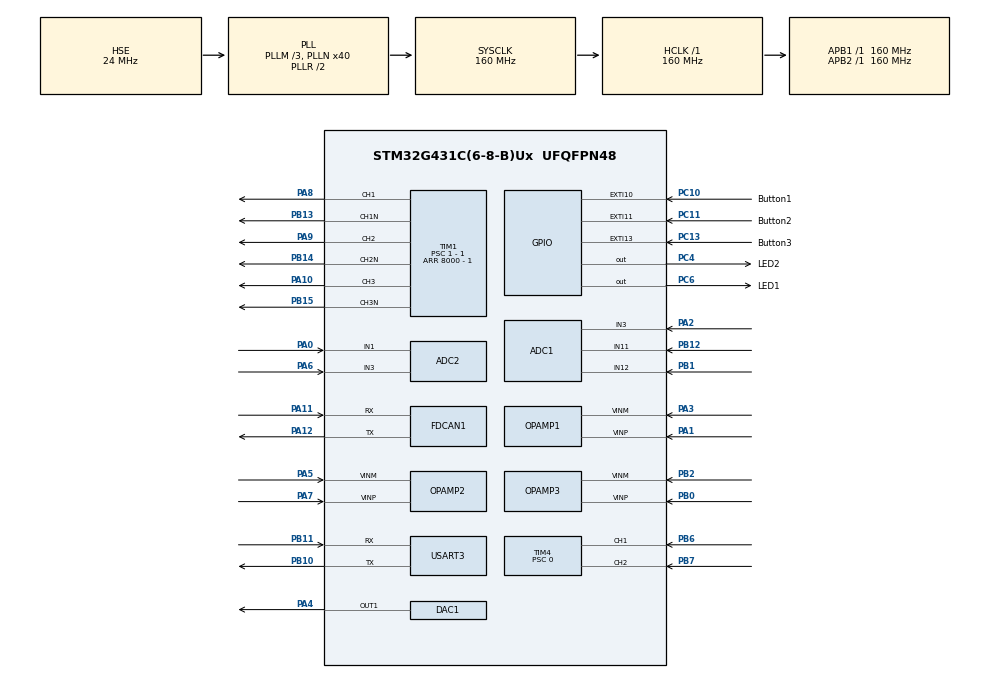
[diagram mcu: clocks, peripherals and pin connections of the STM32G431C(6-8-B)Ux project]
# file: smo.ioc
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ADC1.Channel-0\#ChannelRegularConversion=ADC_CHANNEL_11
ADC1.EnableInjectedConversion=ENABLE
ADC1.ExternalTrigInjecConv=ADC_EXTERNALTRIGINJEC_T1_CC4
ADC1.InjNumberOfConversion=2
ADC1.InjectedChannel-1\#ChannelInjectedConversion=ADC_CHANNEL_3
ADC1.InjectedChannel-2\#ChannelInjectedConversion=ADC_CHANNEL_12
ADC1.InjectedOffsetNumber-1\#ChannelInjectedConversion=ADC_OFFSET_NONE
ADC1.InjectedOffsetNumber-2\#ChannelInjectedConversion=ADC_OFFSET_NONE
ADC1.InjectedRank-1\#ChannelInjectedConversion=1
ADC1.InjectedRank-2\#ChannelInjectedConversion=2
ADC1.InjectedSamplingTime-1\#ChannelInjectedConversion=ADC_SAMPLETIME_6CYCLES_5
ADC1.InjectedSamplingTime-2\#ChannelInjectedConversion=ADC_SAMPLETIME_6CYCLES_5
ADC1.NbrOfConversionFlag=1
ADC1.OffsetNumber-0\#ChannelRegularConversion=ADC_OFFSET_NONE
ADC1.Rank-0\#ChannelRegularConversion=1
ADC1.SamplingTime-0\#ChannelRegularConversion=ADC_SAMPLETIME_2CYCLES_5
ADC1.master=1
ADC2.Channel-0\#ChannelRegularConversion=ADC_CHANNEL_3
ADC2.EnableInjectedConversion=ENABLE
ADC2.ExternalTrigInjecConv=ADC_EXTERNALTRIGINJEC_T1_CC4
ADC2.InjNumberOfConversion=1
ADC2.InjectedChannel-1\#ChannelInjectedConversion=ADC_CHANNEL_3
ADC2.InjectedOffsetNumber-1\#ChannelInjectedConversion=ADC_OFFSET_NONE
ADC2.InjectedRank-1\#ChannelInjectedConversion=1
ADC2.InjectedSamplingTime-1\#ChannelInjectedConversion=ADC_SAMPLETIME_6CYCLES_5
ADC2.NbrOfConversionFlag=1
ADC2.OffsetNumber-0\#ChannelRegularConversion=ADC_OFFSET_NONE
ADC2.Rank-0\#ChannelRegularConversion=1
ADC2.SamplingTime-0\#ChannelRegularConversion=ADC_SAMPLETIME_2CYCLES_5
COMP1.TriggerMode=COMP_TRIGGERMODE_IT_RISING
Dma.Request0=USART3_TX
Dma.Request1=USART3_RX
Dma.USART3_RX.1.Direction=DMA_PERIPH_TO_MEMORY
Dma.USART3_RX.1.EventEnable=DISABLE
Dma.USART3_RX.1.Instance=DMA1_Channel2
Dma.USART3_RX.1.MemDataAlignment=DMA_MDATAALIGN_BYTE
Dma.USART3_RX.1.MemInc=DMA_MINC_ENABLE
Dma.USART3_RX.1.Mode=DMA_NORMAL
Dma.USART3_RX.1.PeriphDataAlignment=DMA_PDATAALIGN_BYTE
Dma.USART3_RX.1.PeriphInc=DMA_PINC_DISABLE
Dma.USART3_RX.1.Polarity=HAL_DMAMUX_REQ_GEN_RISING
Dma.USART3_RX.1.Priority=DMA_PRIORITY_LOW
Dma.USART3_RX.1.RequestNumber=1
Dma.USART3_RX.1.SignalID=NONE
Dma.USART3_RX.1.SyncEnable=DISABLE
Dma.USART3_RX.1.SyncPolarity=HAL_DMAMUX_SYNC_NO_EVENT
Dma.USART3_RX.1.SyncRequestNumber=1
Dma.USART3_RX.1.SyncSignalID=NONE
Dma.USART3_TX.0.Direction=DMA_MEMORY_TO_PERIPH
Dma.USART3_TX.0.EventEnable=DISABLE
Dma.USART3_TX.0.Instance=DMA1_Channel1
Dma.USART3_TX.0.MemDataAlignment=DMA_MDATAALIGN_BYTE
Dma.USART3_TX.0.MemInc=DMA_MINC_ENABLE
Dma.USART3_TX.0.Mode=DMA_NORMAL
Dma.USART3_TX.0.PeriphDataAlignment=DMA_PDATAALIGN_BYTE
Dma.USART3_TX.0.PeriphInc=DMA_PINC_DISABLE
Dma.USART3_TX.0.Polarity=HAL_DMAMUX_REQ_GEN_RISING
Dma.USART3_TX.0.Priority=DMA_PRIORITY_LOW
Dma.USART3_TX.0.RequestNumber=1
Dma.USART3_TX.0.SignalID=NONE
Dma.USART3_TX.0.SyncEnable=DISABLE
Dma.USART3_TX.0.SyncPolarity=HAL_DMAMUX_SYNC_NO_EVENT
Dma.USART3_TX.0.SyncRequestNumber=1
Dma.USART3_TX.0.SyncSignalID=NONE
FDCAN1.CalculateBaudRateNominal=500000
FDCAN1.CalculateTimeBitNominal=2000
FDCAN1.CalculateTimeQuantumNominal=125.0
FDCAN1.DataPrescaler=20
FDCAN1.DataTimeSeg1=10
FDCAN1.DataTimeSeg2=5
FDCAN1.NominalPrescaler=20
FDCAN1.NominalTimeSeg1=10
FDCAN1.NominalTimeSeg2=5
Mcu.Family=STM32G4
Mcu.Name=STM32G431C(6-8-B)Ux
Mcu.Package=UFQFPN48
NVIC.ADC1_2_IRQn=true\:0\:0\:false\:false\:true\:true\:true\:true
NVIC.COMP1_2_3_IRQn=true\:0\:0\:false\:false\:true\:false\:true\:true
NVIC.DMA1_Channel1_IRQn=true\:0\:0\:false\:false\:true\:false\:true\:true
NVIC.DMA1_Channel2_IRQn=true\:0\:0\:false\:false\:true\:false\:true\:true
NVIC.EXTI15_10_IRQn=true\:4\:0\:true\:false\:true\:true\:true\:true
NVIC.PriorityGroup=NVIC_PRIORITYGROUP_4
NVIC.TIM1_BRK_TIM15_IRQn=true\:1\:0\:true\:false\:true\:true\:true\:true
NVIC.TIM1_CC_IRQn=true\:1\:0\:true\:false\:true\:true\:true\:true
NVIC.TIM1_UP_TIM16_IRQn=true\:1\:0\:true\:false\:true\:true\:true\:true
NVIC.TIM3_IRQn=true\:0\:0\:true\:false\:true\:true\:true\:true
NVIC.TIM6_DAC_IRQn=true\:1\:0\:true\:false\:true\:true\:true\:true
NVIC.USART3_IRQn=true\:2\:0\:true\:false\:true\:true\:true\:true
PA0.Mode=IN1-Single-Ended
PA0.Signal=ADC2_IN1
PA1.Mode=Standalone
PA1.Signal=OPAMP1_VINP
PA10.Signal=S_TIM1_CH3
PA11.Mode=FDCAN_Activate
PA11.Signal=FDCAN1_RX
PA12.Mode=FDCAN_Activate
PA12.Signal=FDCAN1_TX
PA13.Mode=Serial_Wire
PA13.Signal=SYS_JTMS-SWDIO
PA14.Mode=Serial_Wire
PA14.Signal=SYS_JTCK-SWCLK
PA2.Signal=SharedAnalog_PA2
PA3.Mode=Standalone
PA3.Signal=OPAMP1_VINM
PA4.Signal=COMP_DAC11_group
PA5.Mode=Standalone
PA5.Signal=OPAMP2_VINM
PA6.Signal=SharedAnalog_PA6
PA7.Mode=Standalone
PA7.Signal=OPAMP2_VINP
PA8.Signal=S_TIM1_CH1
PA9.Signal=S_TIM1_CH2
PB0.Mode=Standalone
PB0.Signal=OPAMP3_VINP
PB1.Signal=SharedAnalog_PB1
PB10.Mode=Asynchronous
PB10.Signal=USART3_TX
PB11.Mode=Asynchronous
PB11.Signal=USART3_RX
PB12.Mode=IN11-Single-Ended
PB12.Signal=ADC1_IN11
PB13.Mode=PWM Generation1 CH1 CH1N
PB13.Signal=TIM1_CH1N
PB14.Mode=PWM Generation2 CH2 CH2N
PB14.Signal=TIM1_CH2N
PB15.Mode=PWM Generation3 CH3 CH3N
PB15.Signal=TIM1_CH3N
PB2.Mode=Standalone
PB2.Signal=OPAMP3_VINM
PB6.Signal=S_TIM4_CH1
PB7.Signal=S_TIM4_CH2
PC10.GPIO_Label=Button1
PC10.GPIO_ModeDefaultEXTI=GPIO_MODE_IT_RISING
PC10.Signal=GPXTI10
PC11.GPIO_Label=Button2
PC11.Signal=GPXTI11
PC13.GPIO_Label=Button3
PC13.Signal=GPXTI13
PC4.GPIO_Label=LED2
PC4.Signal=GPIO_Output
PC6.GPIO_Label=LED1
PC6.Signal=GPIO_Output
PF0-OSC_IN.Mode=HSE-External-Oscillator
PF0-OSC_IN.Signal=RCC_OSC_IN
PF1-OSC_OUT.Mode=HSE-External-Oscillator
PF1-OSC_OUT.Signal=RCC_OSC_OUT
ProjectManager.HeapSize=0x200
ProjectManager.StackSize=0x400
ProjectManager.TargetToolchain=STM32CubeIDE
RCC.ADC12Freq_Value=160000000
RCC.AHBFreq_Value=160000000
RCC.APB1Freq_Value=160000000
RCC.APB1TimFreq_Value=160000000
RCC.APB2Freq_Value=160000000
RCC.APB2TimFreq_Value=160000000
RCC.CortexFreq_Value=160000000
RCC.EXTERNAL_CLOCK_VALUE=12288000
RCC.HCLKFreq_Value=160000000
RCC.HSE_VALUE=24000000
RCC.HSI48_VALUE=48000000
RCC.HSI_VALUE=16000000
RCC.LSE_VALUE=32768
RCC.PLLM=RCC_PLLM_DIV3
RCC.PLLN=40
RCC.PLLSourceVirtual=RCC_PLLSOURCE_HSE
RCC.SYSCLKFreq_VALUE=160000000
RCC.SYSCLKSource=RCC_SYSCLKSOURCE_PLLCLK
RCC.USBFreq_Value=160000000
RCC.VCOOutputFreq_Value=320000000
SH.COMP_DAC11_group.0=DAC1_OUT1,DAC_OUT1
SH.S_TIM1_CH1.0=TIM1_CH1,PWM Generation1 CH1 CH1N
SH.S_TIM1_CH2.0=TIM1_CH2,PWM Generation2 CH2 CH2N
SH.S_TIM1_CH3.0=TIM1_CH3,PWM Generation3 CH3 CH3N
SH.S_TIM4_CH1.0=TIM4_CH1,Encoder_Interface
SH.S_TIM4_CH2.0=TIM4_CH2,Encoder_Interface
SH.SharedAnalog_PA2.0=ADC1_IN3,IN3-Single-Ended
SH.SharedAnalog_PA2.1=OPAMP1_VOUT,Standalone
SH.SharedAnalog_PA6.0=ADC2_IN3,IN3-Single-Ended
SH.SharedAnalog_PA6.1=OPAMP2_VOUT,Standalone
SH.SharedAnalog_PB1.0=ADC1_IN12,IN12-Single-Ended
SH.SharedAnalog_PB1.1=COMP1_INP,INP
SH.SharedAnalog_PB1.2=OPAMP3_VOUT,Standalone
STMicroelectronics.X-CUBE-ALGOBUILD.1.4.0.LibraryCcDSPOoLibraryJjDSPOoLibrary=true
TIM1.BreakFilter=2
TIM1.BreakState=TIM_BREAK_ENABLE
TIM1.Channel-PWM\ Generation1\ CH1\ CH1N=TIM_CHANNEL_1
TIM1.Channel-PWM\ Generation2\ CH2\ CH2N=TIM_CHANNEL_2
TIM1.Channel-PWM\ Generation3\ CH3\ CH3N=TIM_CHANNEL_3
TIM1.Channel-PWM\ Generation4\ No\ Output=TIM_CHANNEL_4
TIM1.ClockDivision=TIM_CLOCKDIVISION_DIV2
TIM1.CounterMode=TIM_COUNTERMODE_CENTERALIGNED1
TIM1.DeadTime=120
TIM1.OCMode_PWM-PWM\ Generation4\ No\ Output=TIM_OCMODE_PWM2
TIM1.PeriodNoDither=8000 - 1
TIM1.Prescaler=1 - 1
TIM1.PulseNoDither_4=8000 - 2
TIM1.SourceBRKCOMP1=TIM_BREAKINPUTSOURCE_ENABLE
TIM1.TIM_MasterOutputTrigger=TIM_TRGO_OC4REF
TIM3.AutoReloadPreload=TIM_AUTORELOAD_PRELOAD_ENABLE
TIM3.PeriodNoDither=65535
TIM3.Prescaler=0
TIM4.AutoReloadPreload=TIM_AUTORELOAD_PRELOAD_ENABLE
TIM4.EncoderMode=TIM_ENCODERMODE_TI12
TIM4.IC1Filter=8
TIM4.IC2Filter=8
TIM4.PeriodNoDither=65535
TIM4.Prescaler=0
TIM6.AutoReloadPreload=TIM_AUTORELOAD_PRELOAD_ENABLE
TIM6.PeriodNoDither=999
TIM6.Prescaler=159
USART3.VirtualMode-Asynchronous=VM_ASYNC
VP_COMP1_VS_DAC3OUT1.Mode=INM_DAC3OUT1
VP_DAC3_VS_DACI1.Mode=DAC_OUT1_Int
VP_STMicroelectronics.X-CUBE-ALGOBUILD_VS_DSPOoLibraryJjLibrary_1.4.0_1.4.0.Mode=DSPOoLibraryJjLibrary
VP_SYS_VS_DBSignals.Mode=DisableDeadBatterySignals
VP_TIM1_VS_ClockSourceINT.Mode=Internal
VP_TIM1_VS_no_output4.Mode=PWM Generation4 No Output
VP_TIM3_VS_ClockSourceINT.Mode=Internal
VP_TIM6_VS_ClockSourceINT.Mode=Enable_Timer
board=custom

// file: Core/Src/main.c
/* USER CODE BEGIN Header */
/**
  ******************************************************************************
  * @file           : main.c
  * @brief          : Main program body
  ******************************************************************************
  * @attention
  *
  * Copyright (c) 2025 STMicroelectronics.
  * All rights reserved.
  *
  * This software is licensed under terms that can be found in the LICENSE file
  * in the root directory of this software component.
  * If no LICENSE file comes with this software, it is provided AS-IS.
  *
  ******************************************************************************
  */
/* USER CODE END Header */
#include "main.h"
#include "adc.h"
#include "comp.h"
#include "dac.h"
#include "dma.h"
#include "fdcan.h"
#include "opamp.h"
#include "tim.h"
#include "usart.h"
#include "gpio.h"

/* USER CODE BEGIN Includes */
#include "communication.h"
#include "param.h"
#include "currentPid.h"
#include "encoder.h"
#include "speedPid.h"
#include "led.h"
#include "mb.h"
#include "SMO.h"
#include "hfi.h"
#include "rlsEstimator.h"
#include "qprControl.h"
/* USER CODE END Includes */

void SystemClock_Config(void);

int main(void)
{

  /* MCU Configuration--------------------------------------------------------*/

  /* Reset of all peripherals, Initializes the Flash interface and the Systick. */
  HAL_Init();

  /* Configure the system clock */
  SystemClock_Config();

  /* Initialize all configured peripherals */
  MX_GPIO_Init();
  MX_DMA_Init();
  MX_USART3_UART_Init();
  MX_ADC1_Init();
  MX_ADC2_Init();
  MX_OPAMP1_Init();
  MX_OPAMP2_Init();
  MX_OPAMP3_Init();
  MX_COMP1_Init();
  MX_DAC3_Init();
  MX_TIM1_Init();
  MX_DAC1_Init();
  MX_FDCAN1_Init();
  MX_TIM3_Init();
  MX_TIM4_Init();
  MX_TIM6_Init();
  /* USER CODE BEGIN 2 */
#ifdef USE_MODBUS
  eMBInit(MB_RTU, 0X01, 0x01, 115200, MB_PAR_NONE);
  eMBEnable();
#endif
  paramInit(&motorParam);
  communicationInit();
  encoderInit(&encoderParam);
#ifdef PARAM_IDENTIFIER
  triWaveInit(&triWaveGenerator, 100.f, 0.5f, -0.75f, 1.f / motorParam.period);
  identifyParamsInit(&rlsIdentifier);
#endif
  smcInit(&smcParam);
  Estimator_Init(&SMO_Controller, 8.f, 150.f, 200.f, 2500.f, motorParam.Rs, motorParam.Ls, motorParam.period, 10.f);
  hfiInit(&hfiParam);
  qprInit(&qprControllerId, 100.f, 5.f, 0.f, motorParam.period);
  qprInit(&qprControllerIq, 100.f, 5.f, 0.f, motorParam.period);
  svpwmParamInit();
  currentPidParamInit(&idParam, &iqParam);
  speedPidParamInit(&speedParam);
  HAL_OPAMP_Start(&hopamp1);
  HAL_OPAMP_Start(&hopamp2);
  HAL_OPAMP_Start(&hopamp3);
  HAL_ADCEx_Calibration_Start(&hadc1, ADC_SINGLE_ENDED);
  HAL_ADCEx_Calibration_Start(&hadc2, ADC_SINGLE_ENDED);
  __HAL_ADC_CLEAR_FLAG( &hadc1, ADC_FLAG_JEOC);
  __HAL_ADC_CLEAR_FLAG( &hadc1, ADC_FLAG_EOC);
  __HAL_ADC_CLEAR_FLAG( &hadc2, ADC_FLAG_JEOC);
  HAL_ADCEx_InjectedStart_IT(&hadc1);
  HAL_ADCEx_InjectedStart(&hadc2);
  /* USER CODE END 2 */

  /* Infinite loop */
  /* USER CODE BEGIN WHILE */
  while (1)
  {
#ifdef USE_MODBUS
    eMBPoll();
    uint16_t coilValue = (ucRegCoilsBuf[0] << 8) | ucRegCoilsBuf[1];

    if (coilValue == (1 << 8))
    {
      HAL_TIM_PWM_Start(&htim1, TIM_CHANNEL_1);
      HAL_TIM_PWM_Start(&htim1, TIM_CHANNEL_2);
      HAL_TIM_PWM_Start(&htim1, TIM_CHANNEL_3);
      HAL_TIM_PWM_Start(&htim1, TIM_CHANNEL_4);

      HAL_TIMEx_PWMN_Start(&htim1, TIM_CHANNEL_1);
      HAL_TIMEx_PWMN_Start(&htim1, TIM_CHANNEL_2);
      HAL_TIMEx_PWMN_Start(&htim1, TIM_CHANNEL_3);

      if (motorParam.runFlag == 0)
      {
        HAL_TIM_Encoder_Start(&htim4, TIM_CHANNEL_ALL);
        HAL_TIM_Base_Start_IT(&htim6);
      }

      motorParam.runFlag = 1;  // 启动电机
    }

    else if (coilValue == 0)
    {
      motorParam.runFlag = 0;  // 停止电机

#ifdef  USE_ENCORDER
      HAL_TIM_PWM_Stop(&htim1, TIM_CHANNEL_1);
      HAL_TIM_PWM_Stop(&htim1, TIM_CHANNEL_2);
      HAL_TIM_PWM_Stop(&htim1, TIM_CHANNEL_3);
      HAL_TIM_PWM_Stop(&htim1, TIM_CHANNEL_4);
      HAL_TIMEx_PWMN_Stop(&htim1, TIM_CHANNEL_1);
      HAL_TIMEx_PWMN_Stop(&htim1, TIM_CHANNEL_2);
      HAL_TIMEx_PWMN_Stop(&htim1, TIM_CHANNEL_3);

      resetCurrentPidParam(&idParam);
      resetCurrentPidParam(&iqParam);
      resetSpeedPidParam(&speedParam);
      //resetRlsEstimator(&rlsEstimator);
      motor_state = MOTOR_STATE_STOP;
#else
      HAL_TIM_PWM_Stop(&htim1, TIM_CHANNEL_1);
      HAL_TIM_PWM_Stop(&htim1, TIM_CHANNEL_2);
      HAL_TIM_PWM_Stop(&htim1, TIM_CHANNEL_3);
      HAL_TIM_PWM_Stop(&htim1, TIM_CHANNEL_4);
      HAL_TIMEx_PWMN_Stop(&htim1, TIM_CHANNEL_1);
      HAL_TIMEx_PWMN_Stop(&htim1, TIM_CHANNEL_2);
      HAL_TIMEx_PWMN_Stop(&htim1, TIM_CHANNEL_3);

      Estimator_Init(&SMO_Controller, 8.f, 150.f, 200.f, 2500.f, motorParam.Rs, motorParam.Ls, motorParam.period, 10.f);
      resetCurrentPidParam(&idParam);
      resetCurrentPidParam(&iqParam);
      resetSpeedPidParam(&speedParam);
      // resetRlsEstimator(&rlsEstimator);
      motor_state = MOTOR_STATE_STOP;

#endif
    }
#endif
    /* USER CODE END WHILE */

  }
}

void SystemClock_Config(void)
{
  RCC_OscInitTypeDef RCC_OscInitStruct = {0};
  RCC_ClkInitTypeDef RCC_ClkInitStruct = {0};

  /** Configure the main internal regulator output voltage
  */
  HAL_PWREx_ControlVoltageScaling(PWR_REGULATOR_VOLTAGE_SCALE1_BOOST);

  /** Initializes the RCC Oscillators according to the specified parameters
  * in the RCC_OscInitTypeDef structure.
  */
  RCC_OscInitStruct.OscillatorType = RCC_OSCILLATORTYPE_HSE;
  RCC_OscInitStruct.HSEState = RCC_HSE_ON;
  RCC_OscInitStruct.PLL.PLLState = RCC_PLL_ON;
  RCC_OscInitStruct.PLL.PLLSource = RCC_PLLSOURCE_HSE;
  RCC_OscInitStruct.PLL.PLLM = RCC_PLLM_DIV3;
  RCC_OscInitStruct.PLL.PLLN = 40;
  RCC_OscInitStruct.PLL.PLLP = RCC_PLLP_DIV2;
  RCC_OscInitStruct.PLL.PLLQ = RCC_PLLQ_DIV2;
  RCC_OscInitStruct.PLL.PLLR = RCC_PLLR_DIV2;
  if (HAL_RCC_OscConfig(&RCC_OscInitStruct) != HAL_OK)
  {
    Error_Handler();
  }

  /** Initializes the CPU, AHB and APB buses clocks
  */
  RCC_ClkInitStruct.ClockType = RCC_CLOCKTYPE_HCLK|RCC_CLOCKTYPE_SYSCLK
                              |RCC_CLOCKTYPE_PCLK1|RCC_CLOCKTYPE_PCLK2;
  RCC_ClkInitStruct.SYSCLKSource = RCC_SYSCLKSOURCE_PLLCLK;
  RCC_ClkInitStruct.AHBCLKDivider = RCC_SYSCLK_DIV1;
  RCC_ClkInitStruct.APB1CLKDivider = RCC_HCLK_DIV1;
  RCC_ClkInitStruct.APB2CLKDivider = RCC_HCLK_DIV1;

  if (HAL_RCC_ClockConfig(&RCC_ClkInitStruct, FLASH_LATENCY_4) != HAL_OK)
  {
    Error_Handler();
  }
}

void Error_Handler(void)
{
  __disable_irq();
  while (1)
  {
  }
}
